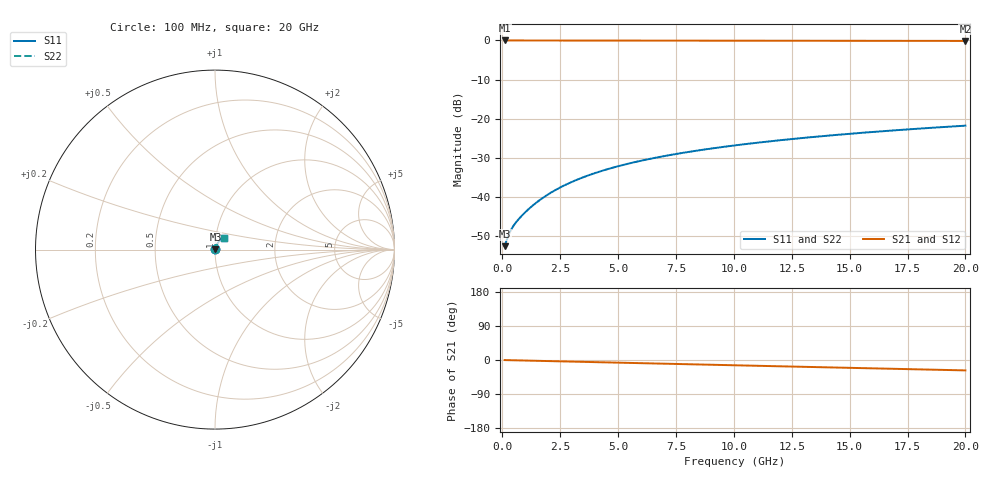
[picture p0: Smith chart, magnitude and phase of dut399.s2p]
! Touchstone file exported from HFSS 2026.1.0
!  File:  C:/ffzhzh/LocalFiles/Ansys_Project_Files/temp_train_TMRDL_399_1783004876_51716.aedt
!  Generated:  11:09:15 PM Jul  2, 2026
!  Design:  TMRDL
!  Project:  temp_train_TMRDL_399_1783004876_51716
! Variables:
!  h_bsmrdl = 2um
!  h_ox = 20um
!  h_rdl = 5um
!  h_sub = 80um
!  h_tmrdl = 3.68um
!  h_tsv = 80um
!  h_via = 3um
!  l_bsmrdl = 300um
!  l_sub = 872.57um
!  l_tmrdl = 472.57um
!  m_sub = 200um
!  pitch = 30.44um
!  r_tsv = 6um
!  s_tmrdl = 10um
!  w_bsmrdl = 18um
!  w_sub = 500um
!  w_tmrdl = 23.58um
!  x_tsv_center1 = 484.36um
!  x_tsv_center2 = 802.36um
!  x_tsv_center3 = 1298.51um
!  x_tsv_center4 = 1616.51um
!  x_tsv_center5 = 2112.66um
!  x_tsv_center6 = 2430.66um
# GHz S MA R 50.000000
! Terminal data exported
! Port[1] = TM_RDL1_1_T1
! Port[2] = TM_RDL1_1_T2
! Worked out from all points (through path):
!   200 points, 100 MHz to 20 GHz, reference 50 ohm
!   highest |S21| = -0.02 dB at 100 MHz (marker M1); lowest = -0.1 dB at 20 GHz (marker M2)
!   group delay of S21, straight-line fit = 3.8 ps
!   lowest |S11| = -52.6 dB at 100 MHz (marker M3), VSWR 1.00, Z = 50.2 + j0.0843 ohm
!   |S11| at or under -10 dB: start of sweep to end of sweep
!   |S22| runs from -52.6 to -21.8 dB; largest |S21 - S12| = 2.1e-15
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0.1  0.00235 20.9  0.9978 -0.2  0.9978 -0.2  0.00235 20.9
! Gamma 0 0 0 0
! Port Impedance 50 0 50 0
0.2  0.002878 32.8  0.9976 -0.3  0.9976 -0.3  0.002878 32.8
0.3  0.003422 38.9  0.9973 -0.5  0.9973 -0.5  0.003423 38.9
0.4  0.00391 42.7  0.9972 -0.6  0.9972 -0.6  0.003913 42.7
0.5  0.004352 45.7  0.997 -0.7  0.997 -0.7  0.004357 45.7
0.6  0.00477 48.4  0.9969 -0.9  0.9969 -0.9  0.004775 48.4
0.8  0.005585 52.9  0.9967 -1.2  0.9967 -1.2  0.005591 52.9
1.2  0.007269 59.7  0.9965 -1.7  0.9965 -1.7  0.007275 59.7
1.7  0.009498 64.9  0.9963 -2.4  0.9963 -2.4  0.009504 64.8
2.2  0.0118 67.7  0.9961 -3.1  0.9961 -3.1  0.01181 67.7
2.8  0.0146 69.5  0.9958 -4.0  0.9958 -4.0  0.01461 69.5
3.5  0.01786 70.4  0.9953 -5.0  0.9953 -5.0  0.01786 70.3
4.2  0.02107 70.5  0.9949 -5.9  0.9949 -5.9  0.02107 70.5
5  0.02467 70.2  0.9943 -7.1  0.9943 -7.1  0.02467 70.2
5.9  0.02861 69.6  0.9936 -8.3  0.9936 -8.3  0.02862 69.6
6.8  0.03245 68.8  0.9929 -9.5  0.9929 -9.5  0.03246 68.8
8.3  0.03864 67.3  0.9918 -11.6  0.9918 -11.6  0.03865 67.2
10.1  0.04577 65.4  0.9905 -14.0  0.9905 -14.0  0.04579 65.3
11.7  0.05191 63.6  0.9894 -16.2  0.9894 -16.2  0.05193 63.5
13.4  0.05825 61.7  0.9883 -18.5  0.9883 -18.5  0.05827 61.6
16.7  0.0701 58.0  0.9863 -23.0  0.9863 -23.0  0.07014 57.8
20  0.08136 54.2  0.9844 -27.4  0.9844 -27.4  0.08141 54.0
